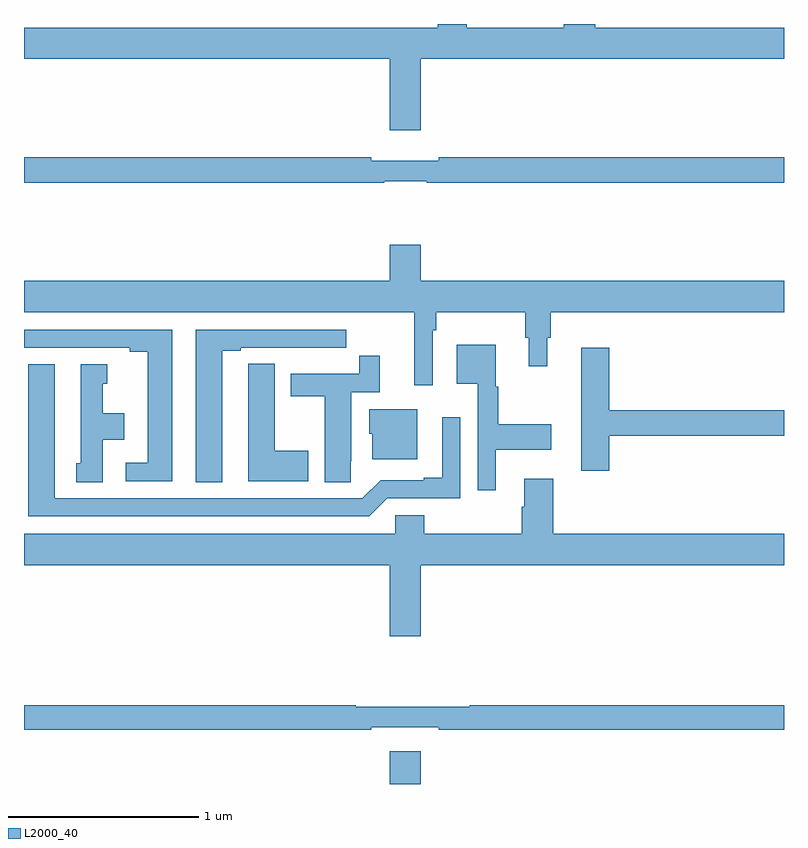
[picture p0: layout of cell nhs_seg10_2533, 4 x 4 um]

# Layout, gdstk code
import gdstk
lib = gdstk.Library(unit=1e-6, precision=1e-09)
def R(c, l, rs):  # rectangles x0, y0, x1, y1
    for r in rs: c.add(gdstk.rectangle(r[:2], r[2:], *l))
def P(c, l, *ps):  # polygons
    for p in ps: c.add(gdstk.Polygon(p, *l))
L2000_40 = (2000, 40)

nhs_seg10_2533 = lib.new_cell('nhs_seg10_2533')
R(nhs_seg10_2533, L2000_40, [(248.924,1296.5,249.088,1296.673)])
P(nhs_seg10_2533, L2000_40, [(249.088,1300.316),(251,1300.316),(251,1300.48),(250.007,1300.48),(250.007,1300.5),(249.842,1300.5),(249.842,1300.48),(249.329,1300.48),(249.329,1300.5),(249.177,1300.5),(249.177,1300.48),(247,1300.48),(247,1300.316),(248.924,1300.316),(248.924,1299.942),(249.088,1299.942)],
  [(248.896,1299.672),(249.121,1299.672),(249.121,1299.664),(251,1299.664),(251,1299.8),(249.184,1299.8),(249.184,1299.781),(248.828,1299.781),(248.828,1299.8),(247,1299.8),(247,1299.664),(248.896,1299.664)],
  [(249.15,1298.888),(249.17,1298.888),(249.17,1298.984),(249.637,1298.984),(249.637,1298.85),(249.656,1298.85),(249.656,1298.7),(249.754,1298.7),(249.754,1298.85),(249.773,1298.85),(249.773,1298.984),(251,1298.984),(251,1299.148),(249.088,1299.148),(249.088,1299.337),(248.924,1299.337),(248.924,1299.148),(247,1299.148),(247,1298.984),(249.053,1298.984),(249.053,1298.598),(249.15,1298.598)],
  [(247.78,1298.892),(247,1298.892),(247,1298.796),(247.556,1298.796),(247.556,1298.776),(247.652,1298.776),(247.652,1298.19),(247.536,1298.19),(247.536,1298.094),(247.78,1298.094)],
  [(248.044,1298.781),(248.14,1298.781),(248.14,1298.796),(248.416,1298.796),(248.416,1298.795),(248.582,1298.795),(248.582,1298.796),(248.695,1298.796),(248.695,1298.892),(247.904,1298.892),(247.904,1298.089),(248.044,1298.089)],
  [(249.484,1298.258),(249.775,1298.258),(249.775,1298.393),(249.496,1298.393),(249.496,1298.592),(249.484,1298.592),(249.484,1298.812),(249.278,1298.812),(249.278,1298.606),(249.387,1298.606),(249.387,1298.046),(249.484,1298.046)],
  [(250.079,1298.332),(251,1298.332),(251,1298.468),(250.079,1298.468),(250.079,1298.797),(249.932,1298.797),(249.932,1298.148),(250.079,1298.148)],
  [(248.721,1298.2),(248.722,1298.2),(248.722,1298.562),(248.873,1298.562),(248.873,1298.755),(248.764,1298.755),(248.764,1298.658),(248.405,1298.658),(248.405,1298.542),(248.582,1298.542),(248.582,1298.089),(248.721,1298.089)],
  [(248.497,1298.253),(248.32,1298.253),(248.32,1298.711),(248.181,1298.711),(248.181,1298.603),(248.18,1298.603),(248.18,1298.093),(248.497,1298.093)],
  [(247.414,1298.312),(247.528,1298.312),(247.528,1298.452),(247.414,1298.452),(247.414,1298.607),(247.438,1298.607),(247.438,1298.71),(247.298,1298.71),(247.298,1298.187),(247.274,1298.187),(247.274,1298.089),(247.414,1298.089)],
  [(248.913,1298.004),(249.297,1298.004),(249.297,1298.431),(249.2,1298.431),(249.2,1298.113),(249.104,1298.113),(249.104,1298.1),(248.877,1298.1),(248.781,1298.004),(247.162,1298.004),(247.162,1298.71),(247.022,1298.71),(247.022,1297.908),(248.817,1297.908)],
  [(249.07,1298.473),(248.816,1298.473),(248.816,1298.343),(248.834,1298.343),(248.834,1298.21),(249.07,1298.21)],
  [(249.088,1297.652),(251,1297.652),(251,1297.816),(249.785,1297.816),(249.785,1298.107),(249.632,1298.107),(249.632,1297.958),(249.62,1297.958),(249.62,1297.816),(249.107,1297.816),(249.107,1297.914),(248.955,1297.914),(248.955,1297.816),(247,1297.816),(247,1297.652),(248.924,1297.652),(248.924,1297.278),(249.088,1297.278)],
  [(248.828,1296.798),(249.184,1296.798),(249.184,1296.786),(251,1296.786),(251,1296.914),(249.345,1296.914),(249.345,1296.907),(248.745,1296.907),(248.745,1296.914),(247,1296.914),(247,1296.786),(248.828,1296.786)])

lib.write_gds('nhs_seg10_2533.gds')
